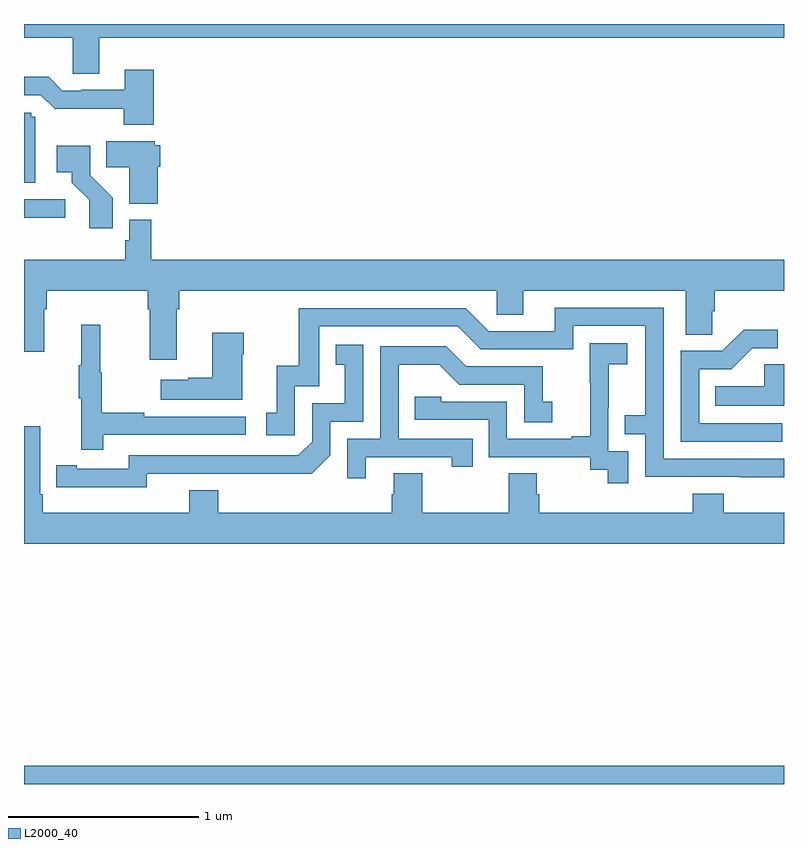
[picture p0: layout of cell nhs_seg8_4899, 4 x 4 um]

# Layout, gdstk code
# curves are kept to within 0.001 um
import gdstk
lib = gdstk.Library(unit=1e-6, precision=1e-09)
def R(c, l, rs):  # rectangles x0, y0, x1, y1
    for r in rs: c.add(gdstk.rectangle(r[:2], r[2:], *l))
def P(c, l, *ps):  # polygons
    for p in ps: c.add(gdstk.Polygon(p, *l))
L2000_40 = (2000, 40)

nhs_seg8_4899 = lib.new_cell('nhs_seg8_4899')
R(nhs_seg8_4899, L2000_40, [(407,1117.9,411,1117.996), (407,1120.879,407.218,1120.977)])
P(nhs_seg8_4899, L2000_40, [(407.395,1121.828),(411,1121.828),(411,1121.9),(407,1121.9),(407,1121.828),(407.256,1121.828),(407.256,1121.638),(407.395,1121.638)],
  [(407.684,1121.659),(407.531,1121.659),(407.531,1121.553),(407.302,1121.553),(407.302,1121.55),(407.202,1121.55),(407.129,1121.623),(407,1121.623),(407,1121.526),(407.088,1121.526),(407.161,1121.453),(407.524,1121.454),(407.524,1121.369),(407.684,1121.369)],
  [(407.059,1121.412),(407.037,1121.412),(407.037,1121.433),(407,1121.433),(407,1121.064),(407.059,1121.064)],
  [(407.705,1121.148),(407.717,1121.148),(407.717,1121.262),(407.688,1121.262),(407.688,1121.284),(407.434,1121.284),(407.434,1121.146),(407.555,1121.146),(407.555,1120.955),(407.705,1120.955)],
  [(407.468,1120.986),(407.349,1121.105),(407.349,1121.26),(407.172,1121.26),(407.172,1121.12),(407.252,1121.12),(407.252,1121.065),(407.343,1120.975),(407.343,1120.824),(407.468,1120.824)],
  [(407.803,1120.4),(407.816,1120.4),(407.816,1120.496),(409.488,1120.496),(409.488,1120.369),(409.627,1120.369),(409.627,1120.496),(410.483,1120.496),(410.483,1120.264),(410.622,1120.264),(410.622,1120.387),(410.636,1120.387),(410.636,1120.496),(411,1120.496),(411,1120.66),(407.669,1120.66),(407.669,1120.87),(407.553,1120.87),(407.553,1120.761),(407.533,1120.761),(407.533,1120.66),(407,1120.66),(407,1120.176),(407.107,1120.176),(407.107,1120.4),(407.12,1120.4),(407.12,1120.496),(407.651,1120.496),(407.651,1120.4),(407.663,1120.4),(407.663,1120.134),(407.803,1120.134)],
  [(411,1119.612),(410.367,1119.612),(410.367,1120.407),(409.793,1120.407),(409.793,1120.284),(409.446,1120.284),(409.326,1120.404),(408.447,1120.404),(408.447,1120.102),(408.329,1120.102),(408.329,1119.855),(408.276,1119.855),(408.276,1119.735),(408.426,1119.735),(408.426,1119.993),(408.555,1119.993),(408.555,1120.308),(409.284,1120.308),(409.404,1120.188),(409.89,1120.188),(409.89,1120.311),(410.271,1120.311),(410.271,1119.842),(410.161,1119.842),(410.161,1119.741),(410.271,1119.741),(410.271,1119.516),(411,1119.515)],
  [(407.417,1119.738),(408.166,1119.738),(408.166,1119.834),(407.633,1119.834),(407.633,1119.854),(407.41,1119.854),(407.41,1120.068),(407.402,1120.068),(407.402,1120.318),(407.3,1120.318),(407.3,1120.105),(407.289,1120.105),(407.289,1119.931),(407.3,1119.931),(407.3,1119.66),(407.417,1119.66)],
  [(410.992,1119.798),(410.553,1119.798),(410.553,1120.083),(410.722,1120.083),(410.833,1120.194),(410.968,1120.194),(410.968,1120.292),(410.789,1120.292),(410.676,1120.179),(410.457,1120.179),(410.457,1119.702),(410.992,1119.702)],
  [(408.148,1120.163),(408.156,1120.163),(408.156,1120.276),(407.99,1120.276),(407.99,1120.037),(407.864,1120.037),(407.864,1120.027),(407.721,1120.027),(407.721,1119.923),(408.148,1119.923)],
  [(410.181,1119.651),(410.076,1119.651),(410.076,1119.881),(410.078,1119.881),(410.078,1120.109),(410.176,1120.109),(410.176,1120.219),(409.978,1120.219),(409.978,1120.013),(409.979,1120.013),(409.979,1119.73),(409.883,1119.73),(409.883,1119.717),(409.542,1119.717),(409.542,1119.912),(409.197,1119.912),(409.197,1119.939),(409.057,1119.939),(409.057,1119.816),(409.446,1119.816),(409.446,1119.621),(409.98,1119.621),(409.98,1119.553),(410.073,1119.553),(410.073,1119.483),(410.181,1119.483)],
  [(407.646,1119.534),(408.514,1119.533),(408.612,1119.63),(408.612,1119.807),(408.786,1119.807),(408.786,1120.213),(408.64,1120.213),(408.64,1120.107),(408.689,1120.107),(408.689,1119.903),(408.516,1119.903),(408.516,1119.702),(408.444,1119.63),(407.55,1119.63),(407.55,1119.558),(407.278,1119.558),(407.278,1119.578),(407.17,1119.578),(407.17,1119.462),(407.646,1119.461)],
  [(408.799,1119.621),(409.25,1119.621),(409.25,1119.57),(409.361,1119.57),(409.361,1119.717),(408.972,1119.717),(408.972,1120.106),(409.186,1120.106),(409.29,1120.002),(409.632,1120.002),(409.632,1119.804),(409.78,1119.804),(409.78,1119.913),(409.731,1119.913),(409.731,1120.098),(409.327,1120.098),(409.222,1120.203),(408.876,1120.203),(408.876,1119.717),(408.702,1119.717),(408.702,1119.51),(408.799,1119.51)],
  [(411,1120.109),(410.895,1120.109),(410.895,1119.994),(410.638,1119.994),(410.638,1119.89),(411,1119.89)],
  [(411,1119.328),(410.684,1119.328),(410.684,1119.427),(410.519,1119.427),(410.519,1119.328),(409.712,1119.328),(409.712,1119.426),(409.699,1119.426),(409.699,1119.536),(409.552,1119.536),(409.552,1119.328),(409.095,1119.328),(409.095,1119.536),(408.947,1119.536),(408.947,1119.426),(408.935,1119.426),(408.935,1119.328),(408.023,1119.328),(408.023,1119.445),(407.87,1119.445),(407.87,1119.328),(407.099,1119.328),(407.099,1119.424),(407.085,1119.424),(407.085,1119.784),(407,1119.784),(407,1119.164),(411,1119.164)])

lib.write_gds('nhs_seg8_4899.gds')
